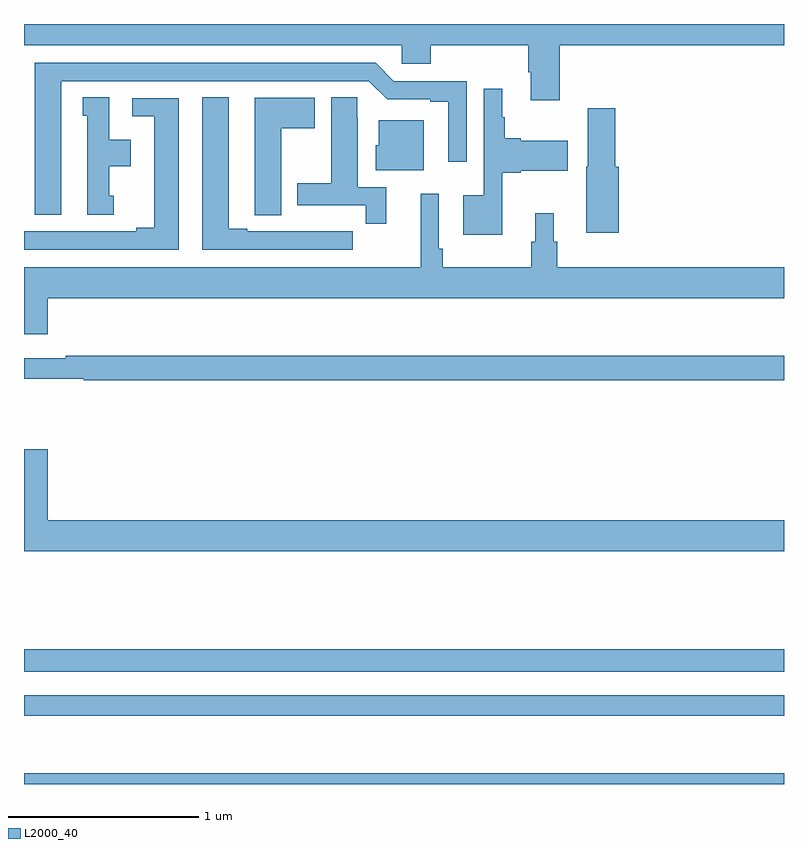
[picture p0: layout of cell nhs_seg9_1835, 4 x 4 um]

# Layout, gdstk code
import gdstk
lib = gdstk.Library(unit=1e-6, precision=1e-09)
def R(c, l, rs):  # rectangles x0, y0, x1, y1
    for r in rs: c.add(gdstk.rectangle(r[:2], r[2:], *l))
def P(c, l, *ps):  # polygons
    for p in ps: c.add(gdstk.Polygon(p, *l))
L2000_40 = (2000, 40)

nhs_seg9_1835 = lib.new_cell('nhs_seg9_1835')
R(nhs_seg9_1835, L2000_40, [(213,1224.5,217,1224.556), (213,1224.858,217,1224.966), (213,1225.092,217,1225.208)])
P(nhs_seg9_1835, L2000_40, [(215.819,1228.388),(217,1228.388),(217,1228.5),(213,1228.5),(213,1228.388),(214.989,1228.388),(214.989,1228.29),(215.141,1228.29),(215.141,1228.388),(215.654,1228.388),(215.654,1228.246),(215.666,1228.246),(215.666,1228.098),(215.819,1228.098)],
  [(213.196,1228.2),(214.815,1228.2),(214.911,1228.104),(215.138,1228.104),(215.138,1228.092),(215.234,1228.092),(215.234,1227.774),(215.331,1227.774),(215.331,1228.2),(214.947,1228.2),(214.851,1228.296),(213.056,1228.296),(213.056,1227.495),(213.196,1227.495)],
  [(215.518,1227.716),(215.614,1227.716),(215.614,1227.728),(215.863,1227.728),(215.863,1227.886),(215.614,1227.886),(215.614,1227.899),(215.53,1227.899),(215.53,1228.01),(215.518,1228.01),(215.518,1228.159),(215.421,1228.159),(215.421,1227.598),(215.312,1227.598),(215.312,1227.392),(215.518,1227.392)],
  [(213.472,1227.597),(213.448,1227.597),(213.448,1227.752),(213.562,1227.752),(213.562,1227.892),(213.448,1227.892),(213.448,1228.115),(213.308,1228.115),(213.308,1228.017),(213.332,1228.017),(213.332,1227.495),(213.472,1227.495)],
  [(214.729,1227.408),(214.616,1227.408),(214.616,1227.409),(214.45,1227.409),(214.45,1227.408),(214.174,1227.408),(214.174,1227.423),(214.078,1227.423),(214.078,1228.115),(213.938,1228.115),(213.938,1227.312),(214.729,1227.312)],
  [(214.907,1227.642),(214.756,1227.642),(214.756,1228.004),(214.755,1228.004),(214.755,1228.115),(214.616,1228.115),(214.616,1227.663),(214.439,1227.663),(214.439,1227.546),(214.798,1227.546),(214.798,1227.45),(214.907,1227.45)],
  [(214.354,1227.952),(214.531,1227.952),(214.531,1228.111),(214.214,1228.111),(214.214,1227.601),(214.215,1227.601),(214.215,1227.493),(214.354,1227.493)],
  [(213.814,1228.11),(213.57,1228.11),(213.57,1228.014),(213.686,1228.014),(213.686,1227.428),(213.59,1227.428),(213.59,1227.408),(213,1227.408),(213,1227.312),(213.814,1227.312)],
  [(216.131,1227.75),(216.113,1227.75),(216.113,1228.057),(215.966,1228.057),(215.966,1227.75),(215.96,1227.75),(215.96,1227.402),(216.131,1227.402)],
  [(215.104,1227.994),(214.868,1227.994),(214.868,1227.861),(214.85,1227.861),(214.85,1227.731),(215.104,1227.731)],
  [(213.124,1227.056),(217,1227.056),(217,1227.22),(215.807,1227.22),(215.807,1227.354),(215.788,1227.354),(215.788,1227.505),(215.69,1227.505),(215.69,1227.354),(215.671,1227.354),(215.671,1227.22),(215.204,1227.22),(215.204,1227.316),(215.184,1227.316),(215.184,1227.607),(215.087,1227.607),(215.087,1227.22),(213,1227.22),(213,1226.868),(213.124,1226.868)],
  [(217,1226.755),(213.22,1226.755),(213.22,1226.742),(213,1226.742),(213,1226.634),(213.314,1226.634),(213.314,1226.626),(217,1226.626)],
  [(217,1225.888),(213.124,1225.888),(213.124,1226.263),(213,1226.263),(213,1225.724),(217,1225.724)])

lib.write_gds('nhs_seg9_1835.gds')
